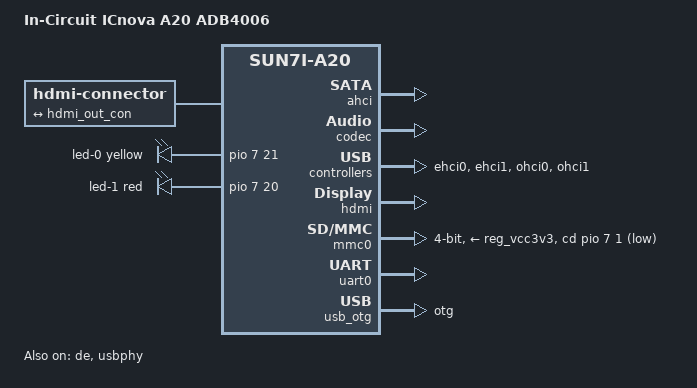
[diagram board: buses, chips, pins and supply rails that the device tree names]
// SPDX-License-Identifier: (GPL-2.0 OR MIT)
// Copyright (C) 2023 In-Circuit GmbH

/dts-v1/;

#include "sun7i-a20-icnova-a20.dtsi"

#include <dt-bindings/gpio/gpio.h>
#include <dt-bindings/leds/common.h>

/ {
	model = "In-Circuit ICnova A20 ADB4006";
	compatible = "incircuit,icnova-a20-adb4006", "incircuit,icnova-a20",
		     "allwinner,sun7i-a20";

	aliases {
		serial0 = &uart0;
	};

	chosen {
		stdout-path = "serial0:115200n8";
	};

	hdmi-connector {
		compatible = "hdmi-connector";
		type = "a";

		port {
			hdmi_con_in: endpoint {
				remote-endpoint = <&hdmi_out_con>;
			};
		};
	};

	leds {
		compatible = "gpio-leds";

		led-0 {
			function = LED_FUNCTION_POWER;
			color = <LED_COLOR_ID_YELLOW>;
			gpios = <&pio 7 21 GPIO_ACTIVE_HIGH>; /* PH21 */
			default-state = "on";
		};

		led-1 {
			function = LED_FUNCTION_HEARTBEAT;
			color = <LED_COLOR_ID_RED>;
			gpios = <&pio 7 20 GPIO_ACTIVE_HIGH>; /* PH20 */
			linux,default-trigger = "heartbeat";
		};
	};
};

&ahci {
	target-supply = <&reg_ahci_5v>;
	status = "okay";
};

&codec {
	status = "okay";
};

&de {
	status = "okay";
};

&ehci0 {
	status = "okay";
};

&ehci1 {
	status = "okay";
};

&hdmi {
	status = "okay";
};

&hdmi_out {
	hdmi_out_con: endpoint {
		remote-endpoint = <&hdmi_con_in>;
	};
};

&mmc0 {
	vmmc-supply = <&reg_vcc3v3>;
	bus-width = <4>;
	cd-gpios = <&pio 7 1 GPIO_ACTIVE_LOW>; /* PH1 */
	status = "okay";
};

&ohci0 {
	status = "okay";
};

&ohci1 {
	status = "okay";
};

&otg_sram {
	status = "okay";
};

&reg_ahci_5v {
	status = "okay";
};

&ac_power_supply {
	status = "okay";
};

&reg_usb1_vbus {
	status = "okay";
};

&reg_usb2_vbus {
	status = "okay";
};

&uart0 {
	pinctrl-names = "default";
	pinctrl-0 = <&uart0_pb_pins>;
	status = "okay";
};

&usb_otg {
	dr_mode = "otg";
	status = "okay";
};

&usbphy {
	usb0_id_det-gpios = <&pio 7 4 GPIO_ACTIVE_HIGH>; /* PH4 */
	usb0_vbus_det-gpios = <&pio 7 5 GPIO_ACTIVE_HIGH>; /* PH5 */
	usb1_vbus-supply = <&reg_usb1_vbus>;
	usb2_vbus-supply = <&reg_usb2_vbus>;
	status = "okay";
};
